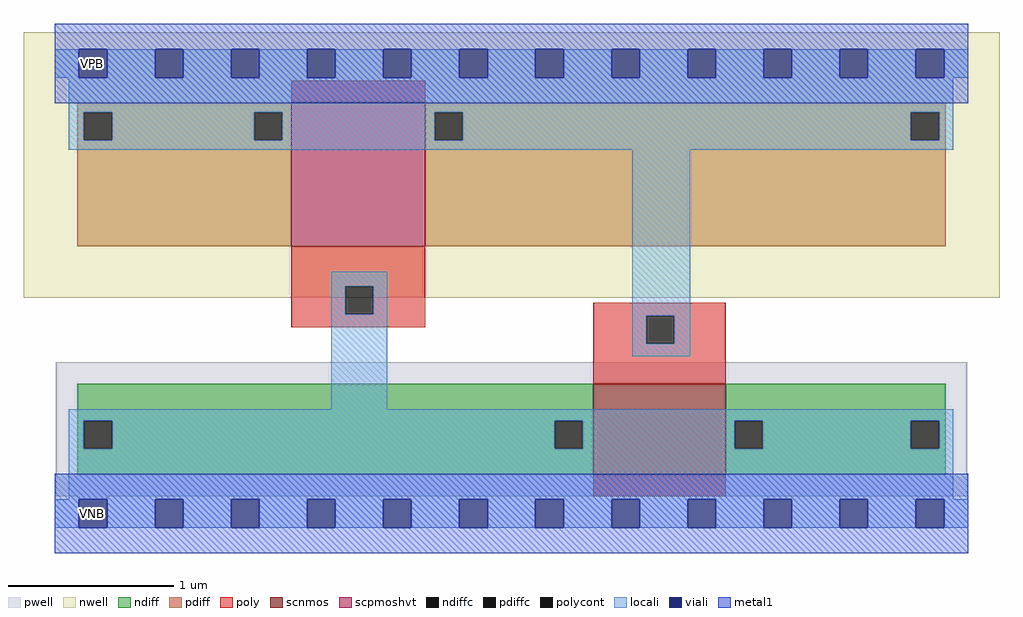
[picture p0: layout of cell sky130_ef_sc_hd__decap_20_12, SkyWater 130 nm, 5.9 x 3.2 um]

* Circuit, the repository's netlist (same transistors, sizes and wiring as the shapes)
* NGSPICE file created from sky130_ef_sc_hd__decap_20_12.ext - technology: sky130A

.subckt sky130_ef_sc_hd__decap_20_12 VNB VPB VGND VPWR
X0 VGND VPWR VGND VNB sky130_fd_pr__nfet_01v8 ad=1.716 pd=7.34 as=2.4475 ps=11.1 w=0.55 l=0.8
X1 VPWR VGND VPWR VPB sky130_fd_pr__pfet_01v8_hvt ad=1.12665 pd=4.33 as=3.8628 ps=12.36 w=0.87 l=0.81
.ends

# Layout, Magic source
magic
tech sky130A
magscale 1 2
<< nwell >>
rect -38 261 1142 582
<< pwell >>
rect 1 21 1103 183
rect 29 -17 63 21
<< scnmos >>
rect 651 47 811 157
<< scpmoshvt >>
rect 286 323 448 497
<< ndiff >>
rect 27 112 651 157
rect 27 78 35 112
rect 69 78 604 112
rect 638 78 651 112
rect 27 47 651 78
rect 811 112 1077 157
rect 811 78 822 112
rect 856 78 1035 112
rect 1069 78 1077 112
rect 811 47 1077 78
<< pdiff >>
rect 27 485 286 497
rect 27 451 35 485
rect 69 451 241 485
rect 275 451 286 485
rect 27 323 286 451
rect 448 485 1077 497
rect 448 451 459 485
rect 493 451 1035 485
rect 1069 451 1077 485
rect 448 323 1077 451
<< ndiffc >>
rect 35 78 69 112
rect 604 78 638 112
rect 822 78 856 112
rect 1035 78 1069 112
<< pdiffc >>
rect 35 451 69 485
rect 241 451 275 485
rect 459 451 493 485
rect 1035 451 1069 485
<< poly >>
rect 286 497 448 523
rect 286 275 448 323
rect 286 241 351 275
rect 385 241 448 275
rect 286 225 448 241
rect 651 239 811 255
rect 651 205 715 239
rect 749 205 811 239
rect 651 157 811 205
rect 651 21 811 47
<< polycont >>
rect 351 241 385 275
rect 715 205 749 239
<< locali >>
rect 0 527 29 561
rect 63 527 121 561
rect 155 527 213 561
rect 247 527 305 561
rect 339 527 397 561
rect 431 527 489 561
rect 523 527 581 561
rect 615 527 673 561
rect 707 527 765 561
rect 799 527 857 561
rect 891 527 949 561
rect 983 527 1041 561
rect 1075 527 1104 561
rect 17 485 1086 527
rect 17 451 35 485
rect 69 451 241 485
rect 275 451 459 485
rect 493 451 1035 485
rect 1069 451 1086 485
rect 17 440 1086 451
rect 334 275 402 292
rect 334 241 351 275
rect 385 241 402 275
rect 334 126 402 241
rect 698 239 768 440
rect 698 205 715 239
rect 749 205 768 239
rect 698 190 768 205
rect 17 112 1086 126
rect 17 78 35 112
rect 69 78 604 112
rect 638 78 822 112
rect 856 78 1035 112
rect 1069 78 1086 112
rect 17 17 1086 78
rect 0 -17 29 17
rect 63 -17 121 17
rect 155 -17 213 17
rect 247 -17 305 17
rect 339 -17 397 17
rect 431 -17 489 17
rect 523 -17 581 17
rect 615 -17 673 17
rect 707 -17 765 17
rect 799 -17 857 17
rect 891 -17 949 17
rect 983 -17 1041 17
rect 1075 -17 1104 17
<< viali >>
rect 29 527 63 561
rect 121 527 155 561
rect 213 527 247 561
rect 305 527 339 561
rect 397 527 431 561
rect 489 527 523 561
rect 581 527 615 561
rect 673 527 707 561
rect 765 527 799 561
rect 857 527 891 561
rect 949 527 983 561
rect 1041 527 1075 561
rect 29 -17 63 17
rect 121 -17 155 17
rect 213 -17 247 17
rect 305 -17 339 17
rect 397 -17 431 17
rect 489 -17 523 17
rect 581 -17 615 17
rect 673 -17 707 17
rect 765 -17 799 17
rect 857 -17 891 17
rect 949 -17 983 17
rect 1041 -17 1075 17
<< metal1 >>
rect 0 561 1104 592
rect 0 527 29 561
rect 63 527 121 561
rect 155 527 213 561
rect 247 527 305 561
rect 339 527 397 561
rect 431 527 489 561
rect 523 527 581 561
rect 615 527 673 561
rect 707 527 765 561
rect 799 527 857 561
rect 891 527 949 561
rect 983 527 1041 561
rect 1075 527 1104 561
rect 0 496 1104 527
rect 0 17 1104 48
rect 0 -17 29 17
rect 63 -17 121 17
rect 155 -17 213 17
rect 247 -17 305 17
rect 339 -17 397 17
rect 431 -17 489 17
rect 523 -17 581 17
rect 615 -17 673 17
rect 707 -17 765 17
rect 799 -17 857 17
rect 891 -17 949 17
rect 983 -17 1041 17
rect 1075 -17 1104 17
rect 0 -48 1104 -17
<< labels >>
flabel pwell s 29 -17 63 17 0 FreeSans 200 0 0 0 VNB
port 2 nsew
flabel nwell s 29 527 63 561 0 FreeSans 200 0 0 0 VPB
port 3 nsew
flabel metal1 s 29 -17 63 17 0 FreeSans 200 0 0 0 VGND
port 4 nsew
flabel metal1 s 29 527 63 561 0 FreeSans 200 0 0 0 VPWR
port 5 nsew
rlabel comment s 0 0 0 0 4 decap_20_12
<< properties >>
string FIXED_BBOX 0 0 1104 544
string GDS_END 3974624
string GDS_FILE $PDKPATH/libs.ref/sky130_fd_sc_hd/gds/sky130_fd_sc_hd.gds
string GDS_START 3970642
string MASKHINTS_HVTP 0 250 1104 287 484 287 1104 533 0 287 250 533 0 533 1104 544
string MASKHINTS_NPC 769 185 1104 259 0 185 695 221 405 221 695 259 405 259 1104 295 0 221 331 295
string MASKHINTS_NSDM 0 -38 1104 22 1102 22 1104 182 0 22 2 182 0 182 1104 203
string MASKHINTS_PSDM 0 297 1104 298 1102 298 1104 522 0 298 2 522 0 522 1104 582
string path 0.000 0.000 27.600 0.000 
<< end >>
